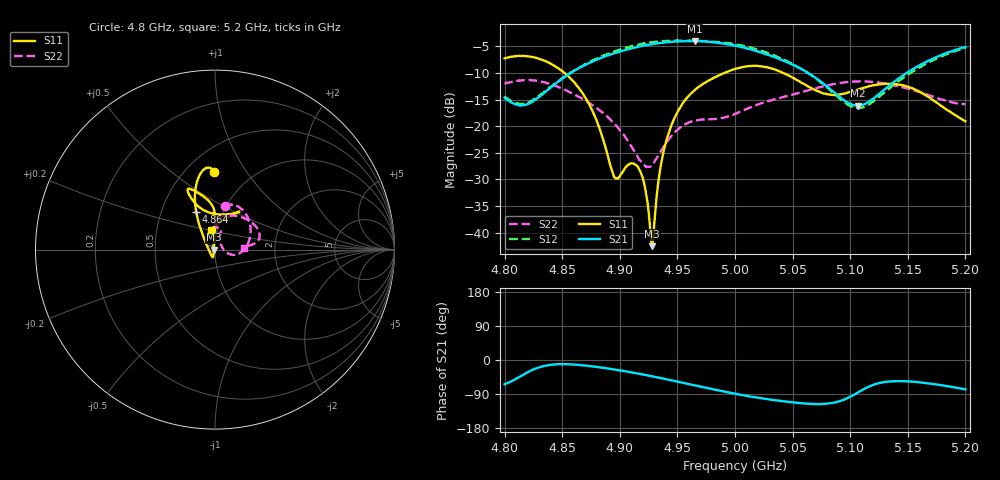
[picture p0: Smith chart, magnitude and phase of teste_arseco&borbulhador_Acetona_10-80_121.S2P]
! Network Analyzer HP8722D
! Hewlett-Packard
! Data name: Linha & Wilkinson
! Saver's name: Rodrigo Anjos
! Comments: Teste da utilização de aquisição
! continua pelo VNA HP8722D
! Time and date: 25/4/2025 16:16
!  Frequency  S11  S21  S12  S22
# HZ  S  MA R 50
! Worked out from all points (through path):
!   401 points, 4.8 GHz to 5.2 GHz, reference 50 ohm
!   highest |S21| = -3.98 dB at 4.965 GHz (marker M1); lowest = -16.1 dB at 5.107 GHz (marker M2)
!   lowest |S11| = -42.5 dB at 4.928 GHz (marker M3), VSWR 1.02, Z = 49.3 - j0.0391 ohm
!   |S11| at or under -10 dB: 4.852 GHz to 4.99 GHz (138.3 MHz wide, 2.81 % of centre); 5.042 GHz to end of sweep
!   |S22| runs from -27.7 to -11.3 dB; largest |S21 - S12| = 1.2
!   S11 on the Smith chart (normalised r, x): 4.8 GHz: 0.68, +0.72; 4.864 GHz: 0.75, +0.33; 5.2 GHz: 0.94, +0.21
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4.8e9  0.4344 90.6  0.1856 -63.9  0.1907 69.8  0.2496 77.2
4.82e9  0.4532 96.9  0.1617 -32.3  0.1671 98.5  0.2717 61.7
4.864e9  0.2323 116.7  0.3491 -12.9  0.3535 121.1  0.1896 12.0
4.867e9  0.209 118.4  0.3637 -13.7  0.3674 120.7  0.1827 8.7
4.88e9  0.1122 128.8  0.4226 -18.4  0.4326 118.2  0.1478 -5.3
4.896e9  0.03275 -165.6  0.4886 -25.4  0.5079 113.1  0.1041 -16.1
4.909e9  0.04464 -108.3  0.5356 -31.9  0.5615 107.7  0.06717 -14.3
4.917e9  0.03885 -104.1  0.5609 -36.3  0.5882 103.6  0.04807 -1.2
4.922e9  0.02618 -108.0  0.577 -39.3  0.6037 100.6  0.04219 15.9
4.928e9  0.007469 -177.0  0.5907 -43.0  0.6181 97.0  0.04394 40.6
4.93e9  0.01246 124.1  0.5956 -44.2  0.6204 95.7  0.04632 47.8
4.934e9  0.03316 99.9  0.6037 -46.9  0.6289 93.3  0.0549 57.8
4.939e9  0.06434 93.3  0.6132 -49.8  0.6349 89.9  0.06651 66.0
4.946e9  0.11 90.1  0.6235 -54.3  0.6393 85.6  0.08416 70.0
4.965e9  0.2186 91.0  0.6328 -67.0  0.6363 73.4  0.1132 71.7
5e9  0.3456 109.1  0.5722 -89.0  0.5918 50.8  0.1315 88.6
5.03e9  0.354 115.2  0.4651 -104.2  0.4812 33.8  0.1736 85.5
5.067e9  0.2262 105.4  0.3004 -115.9  0.298 23.6  0.2221 57.2
5.107e9  0.2222 64.1  0.156 -85.2  0.1481 58.0  0.2636 24.3
5.134e9  0.2508 57.3  0.2408 -56.7  0.2267 88.7  0.2481 12.4
5.17e9  0.1822 70.8  0.4224 -62.5  0.408 84.4  0.1934 6.9
5.2e9  0.1113 100.6  0.555 -77.5  0.5447 70.1  0.1613 3.8
